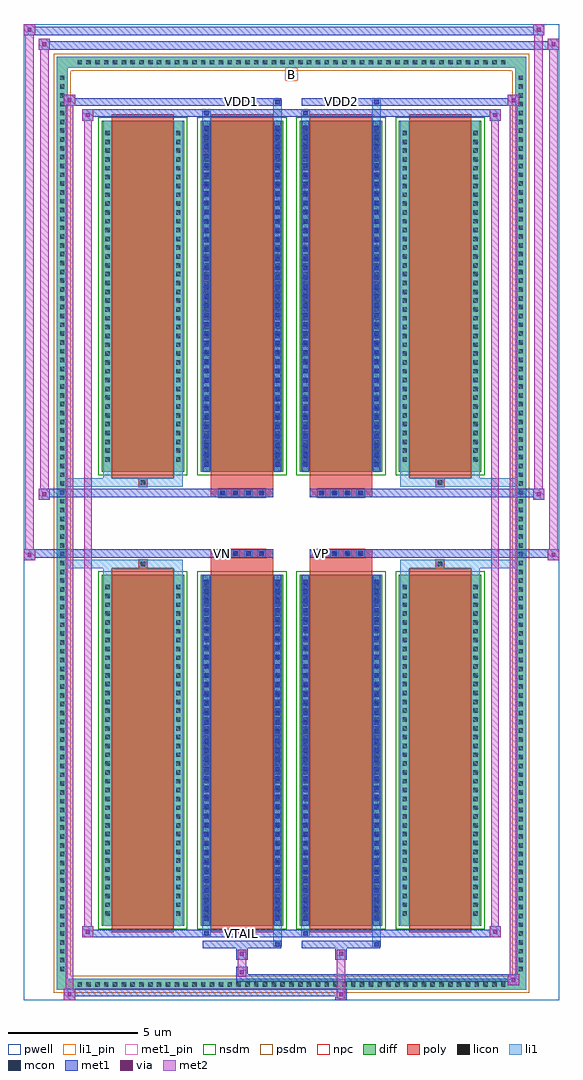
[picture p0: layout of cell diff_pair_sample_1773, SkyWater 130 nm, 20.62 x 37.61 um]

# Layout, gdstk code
import gdstk
lib = gdstk.Library(unit=1e-6, precision=5e-09)
def R(c, l, rs):  # rectangles x0, y0, x1, y1
    for r in rs: c.add(gdstk.rectangle(r[:2], r[2:], *l))
def A(c, l, x, y, w, h, nx, ny, dx, dy):  # array of equal rectangles
    R(c, l, [(x+i*dx, y+j*dy, x+i*dx+w, y+j*dy+h) for i in range(nx) for j in range(ny)])
def P(c, l, *ps):  # polygons
    for p in ps: c.add(gdstk.Polygon(p, *l))
pwell = (64, 44)
diff = (65, 20)
poly = (66, 20)
licon = (66, 44)
li1_pin = (67, 16)
li1 = (67, 20)
mcon = (67, 44)
met1_pin = (68, 16)
met1 = (68, 20)
via = (68, 44)
met2 = (69, 20)
nsdm = (93, 44)
psdm = (94, 20)
npc = (95, 20)

diff_pair_sample_1773 = lib.new_cell('diff_pair_sample_1773')
R(diff_pair_sample_1773, pwell, [(-10.31,-18.37,10.31,19.24), (-7.63,-16.56,-0.01,-0.8), (0.01,-16.56,7.63,-0.8), (-7.63,0.8,-0.01,16.56), (0.01,0.8,7.63,16.56)])
A(diff_pair_sample_1773, diff, -8.365, -17.97, 0.41, 0.41, 49, 2, 0.34, 35.53)
A(diff_pair_sample_1773, diff, -9.04, -17.375, 0.41, 0.41, 1, 102, 0, 0.34)
A(diff_pair_sample_1773, diff, 8.63, -17.375, 0.41, 0.41, 1, 102, 0, 0.34)
A(diff_pair_sample_1773, diff, -7.32, -15.515, 3.18, 13.53, 4, 2, 3.82, 17.5)
R(diff_pair_sample_1773, diff, [(-8.365,-17.97,8.365,-17.56), (-9.04,-17.375,-8.63,17.375), (8.63,-17.375,9.04,17.375), (-8.365,17.56,8.365,17.97)])
P(diff_pair_sample_1773, diff, [(9.04,17.97),(-9.04,17.97),(-9.04,-17.56),(-8.63,-17.56),(-8.63,17.56),(8.63,17.56),(8.63,-17.56),(-8.63,-17.56),(-9.04,-17.56),(-9.04,-17.97),(9.04,-17.97)])
A(diff_pair_sample_1773, poly, -6.93, -15.765, 2.4, 14.03, 4, 2, 3.82, 17.5)
A(diff_pair_sample_1773, poly, -2.825, -1.33, 0.33, 0.33, 4, 2, 0.5, 2.33)
A(diff_pair_sample_1773, poly, 0.995, -1.33, 0.33, 0.33, 4, 2, 0.5, 2.33)
R(diff_pair_sample_1773, poly, [(-5.895,-1.735,-5.565,-1.405), (-5.895,-1.735,-5.565,-1.405), (-3.11,-1.735,-0.71,-1.33), (0.71,-1.735,3.11,-1.33), (5.565,-1.735,5.895,-1.405), (5.565,-1.735,5.895,-1.405), (-3.11,-1.33,-0.71,-1), (0.71,-1.33,3.11,-1), (-3.11,1,-0.71,1.33), (0.71,1,3.11,1.33), (-3.11,1.33,-0.71,1.735), (0.71,1.33,3.11,1.735), (-5.895,1.405,-5.565,1.735), (-5.895,1.405,-5.565,1.735), (5.565,1.405,5.895,1.735), (5.565,1.405,5.895,1.735)])
A(diff_pair_sample_1773, licon, -8.245, -17.85, 0.17, 0.17, 49, 2, 0.34, 35.53)
A(diff_pair_sample_1773, licon, -8.92, -17.255, 0.17, 0.17, 1, 102, 0, 0.34)
A(diff_pair_sample_1773, licon, 8.75, -17.255, 0.17, 0.17, 1, 102, 0, 0.34)
A(diff_pair_sample_1773, licon, -7.18, -15.125, 0.17, 0.17, 1, 38, 0, 0.34)
A(diff_pair_sample_1773, licon, -4.45, -15.125, 0.17, 0.17, 1, 38, 0, 0.34)
A(diff_pair_sample_1773, licon, -3.36, -15.125, 0.17, 0.17, 1, 38, 0, 0.34)
A(diff_pair_sample_1773, licon, -0.63, -15.125, 0.17, 0.17, 1, 38, 0, 0.34)
A(diff_pair_sample_1773, licon, 0.46, -15.125, 0.17, 0.17, 1, 38, 0, 0.34)
A(diff_pair_sample_1773, licon, 3.19, -15.125, 0.17, 0.17, 1, 38, 0, 0.34)
A(diff_pair_sample_1773, licon, 4.28, -15.125, 0.17, 0.17, 1, 38, 0, 0.34)
A(diff_pair_sample_1773, licon, 7.01, -15.125, 0.17, 0.17, 1, 38, 0, 0.34)
A(diff_pair_sample_1773, licon, -2.745, -1.25, 0.17, 0.17, 4, 2, 0.5, 2.33)
A(diff_pair_sample_1773, licon, 1.075, -1.25, 0.17, 0.17, 4, 2, 0.5, 2.33)
A(diff_pair_sample_1773, licon, -7.18, 2.375, 0.17, 0.17, 1, 38, 0, 0.34)
A(diff_pair_sample_1773, licon, -4.45, 2.375, 0.17, 0.17, 1, 38, 0, 0.34)
A(diff_pair_sample_1773, licon, -3.36, 2.375, 0.17, 0.17, 1, 38, 0, 0.34)
A(diff_pair_sample_1773, licon, -0.63, 2.375, 0.17, 0.17, 1, 38, 0, 0.34)
A(diff_pair_sample_1773, licon, 0.46, 2.375, 0.17, 0.17, 1, 38, 0, 0.34)
A(diff_pair_sample_1773, licon, 3.19, 2.375, 0.17, 0.17, 1, 38, 0, 0.34)
A(diff_pair_sample_1773, licon, 4.28, 2.375, 0.17, 0.17, 1, 38, 0, 0.34)
A(diff_pair_sample_1773, licon, 7.01, 2.375, 0.17, 0.17, 1, 38, 0, 0.34)
R(diff_pair_sample_1773, licon, [(-5.815,-1.655,-5.645,-1.485), (5.645,-1.655,5.815,-1.485), (-5.815,1.485,-5.645,1.655), (5.645,1.485,5.815,1.655)])
R(diff_pair_sample_1773, li1_pin, [(-0.25,17.06,0.25,17.56)])
A(diff_pair_sample_1773, li1, -8.325, -17.93, 0.33, 0.33, 49, 2, 0.34, 35.53)
A(diff_pair_sample_1773, li1, -9, -17.335, 0.33, 0.33, 1, 102, 0, 0.34)
A(diff_pair_sample_1773, li1, 8.67, -17.335, 0.33, 0.33, 1, 102, 0, 0.34)
A(diff_pair_sample_1773, li1, -3.36, -15.315, 0.17, 0.17, 1, 37, 0, 0.36)
A(diff_pair_sample_1773, li1, -0.63, -15.315, 0.17, 0.17, 1, 37, 0, 0.36)
A(diff_pair_sample_1773, li1, 0.46, -15.315, 0.17, 0.17, 1, 37, 0, 0.36)
A(diff_pair_sample_1773, li1, 3.19, -15.315, 0.17, 0.17, 1, 37, 0, 0.36)
A(diff_pair_sample_1773, li1, -7.26, -15.205, 0.33, 0.33, 1, 38, 0, 0.34)
A(diff_pair_sample_1773, li1, -4.53, -15.205, 0.33, 0.33, 1, 38, 0, 0.34)
A(diff_pair_sample_1773, li1, -3.44, -15.205, 0.33, 0.33, 1, 38, 0, 0.34)
A(diff_pair_sample_1773, li1, -0.71, -15.205, 0.33, 0.33, 1, 38, 0, 0.34)
A(diff_pair_sample_1773, li1, 0.38, -15.205, 0.33, 0.33, 1, 38, 0, 0.34)
A(diff_pair_sample_1773, li1, 3.11, -15.205, 0.33, 0.33, 1, 38, 0, 0.34)
A(diff_pair_sample_1773, li1, 4.2, -15.205, 0.33, 0.33, 1, 38, 0, 0.34)
A(diff_pair_sample_1773, li1, 6.93, -15.205, 0.33, 0.33, 1, 38, 0, 0.34)
A(diff_pair_sample_1773, li1, -2.825, -1.33, 0.33, 0.33, 4, 2, 0.5, 2.33)
A(diff_pair_sample_1773, li1, 0.995, -1.33, 0.33, 0.33, 4, 2, 0.5, 2.33)
A(diff_pair_sample_1773, li1, -3.36, 2.185, 0.17, 0.17, 1, 37, 0, 0.36)
A(diff_pair_sample_1773, li1, -0.63, 2.185, 0.17, 0.17, 1, 37, 0, 0.36)
A(diff_pair_sample_1773, li1, 0.46, 2.185, 0.17, 0.17, 1, 37, 0, 0.36)
A(diff_pair_sample_1773, li1, 3.19, 2.185, 0.17, 0.17, 1, 37, 0, 0.36)
A(diff_pair_sample_1773, li1, -7.26, 2.295, 0.33, 0.33, 1, 38, 0, 0.34)
A(diff_pair_sample_1773, li1, -4.53, 2.295, 0.33, 0.33, 1, 38, 0, 0.34)
A(diff_pair_sample_1773, li1, -3.44, 2.295, 0.33, 0.33, 1, 38, 0, 0.34)
A(diff_pair_sample_1773, li1, -0.71, 2.295, 0.33, 0.33, 1, 38, 0, 0.34)
A(diff_pair_sample_1773, li1, 0.38, 2.295, 0.33, 0.33, 1, 38, 0, 0.34)
A(diff_pair_sample_1773, li1, 3.11, 2.295, 0.33, 0.33, 1, 38, 0, 0.34)
A(diff_pair_sample_1773, li1, 4.2, 2.295, 0.33, 0.33, 1, 38, 0, 0.34)
A(diff_pair_sample_1773, li1, 6.93, 2.295, 0.33, 0.33, 1, 38, 0, 0.34)
R(diff_pair_sample_1773, li1, [(-9.04,-17.97,-8.63,-17.56), (-9.04,-17.97,-8.63,-17.56), (-8.63,-17.97,8.63,-17.56), (8.63,-17.97,9.04,-17.56), (8.63,-17.97,9.04,-17.56), (-9.04,-17.56,-8.63,17.56), (8.63,-17.56,9.04,17.56), (-0.71,-16.32,-0.38,-15.515), (-0.63,-16.32,-0.46,-16.15), (3.11,-16.32,3.44,-15.515), (3.19,-16.32,3.36,-16.15), (-3.44,-15.89,-3.11,-15.515), (-3.36,-15.89,-3.19,-15.72), (0.38,-15.89,0.71,-15.515), (0.46,-15.89,0.63,-15.72), (-7.26,-15.515,-6.93,-1.985), (-4.53,-15.515,-4.2,-1.985), (-3.44,-15.515,-3.11,-1.985), (-0.71,-15.515,-0.38,-1.985), (0.38,-15.515,0.71,-1.985), (3.11,-15.515,3.44,-1.985), (4.2,-15.515,4.53,-1.985), (6.93,-15.515,7.26,-1.985), (-3.36,-15.315,-3.19,-2.185), (-0.63,-15.315,-0.46,-2.185), (0.46,-15.315,0.63,-2.185), (3.19,-15.315,3.36,-2.185), (-7.26,-1.985,-6.93,-1.405), (-4.53,-1.985,-4.2,-1.405), (4.2,-1.985,4.53,-1.405), (6.93,-1.985,7.26,-1.405), (-9.04,-1.735,-5.895,-1.405), (-7.26,-1.735,-5.895,-1.405), (-5.895,-1.735,-5.565,-1.405), (-5.565,-1.735,-4.2,-1.405), (4.2,-1.735,5.565,-1.405), (5.565,-1.735,5.895,-1.405), (5.565,-1.735,9.04,-1.405), (5.895,-1.735,7.26,-1.405), (-9.04,1.405,-5.895,1.735), (-7.26,1.405,-5.895,1.735), (-7.26,1.405,-6.93,1.985), (-5.895,1.405,-5.565,1.735), (-5.565,1.405,-4.2,1.735), (-4.53,1.405,-4.2,1.985), (4.2,1.405,5.565,1.735), (4.2,1.405,4.53,1.985), (5.565,1.405,5.895,1.735), (5.565,1.405,9.04,1.735), (5.895,1.405,7.26,1.735), (6.93,1.405,7.26,1.985), (-7.26,1.985,-6.93,15.515), (-4.53,1.985,-4.2,15.515), (-3.44,1.985,-3.11,15.515), (-0.71,1.985,-0.38,15.515), (0.38,1.985,0.71,15.515), (3.11,1.985,3.44,15.515), (4.2,1.985,4.53,15.515), (6.93,1.985,7.26,15.515), (-3.36,2.185,-3.19,15.315), (-0.63,2.185,-0.46,15.315), (0.46,2.185,0.63,15.315), (3.19,2.185,3.36,15.315), (-3.44,15.515,-3.11,15.89), (-0.71,15.515,-0.38,16.32), (0.38,15.515,0.71,15.89), (3.11,15.515,3.44,16.32), (-3.36,15.72,-3.19,15.89), (0.46,15.72,0.63,15.89), (-0.63,16.15,-0.46,16.32), (3.19,16.15,3.36,16.32), (-9.04,17.56,-8.63,17.97), (-9.04,17.56,-8.63,17.97), (-8.63,17.56,8.63,17.97), (8.63,17.56,9.04,17.97), (8.63,17.56,9.04,17.97)])
A(diff_pair_sample_1773, mcon, -3.36, -15.315, 0.17, 0.17, 1, 37, 0, 0.36)
A(diff_pair_sample_1773, mcon, -0.63, -15.315, 0.17, 0.17, 1, 37, 0, 0.36)
A(diff_pair_sample_1773, mcon, 0.46, -15.315, 0.17, 0.17, 1, 37, 0, 0.36)
A(diff_pair_sample_1773, mcon, 3.19, -15.315, 0.17, 0.17, 1, 37, 0, 0.36)
A(diff_pair_sample_1773, mcon, -2.745, -1.25, 0.17, 0.17, 4, 2, 0.5, 2.33)
A(diff_pair_sample_1773, mcon, 1.075, -1.25, 0.17, 0.17, 4, 2, 0.5, 2.33)
A(diff_pair_sample_1773, mcon, -3.36, 2.185, 0.17, 0.17, 1, 37, 0, 0.36)
A(diff_pair_sample_1773, mcon, -0.63, 2.185, 0.17, 0.17, 1, 37, 0, 0.36)
A(diff_pair_sample_1773, mcon, 0.46, 2.185, 0.17, 0.17, 1, 37, 0, 0.36)
A(diff_pair_sample_1773, mcon, 3.19, 2.185, 0.17, 0.17, 1, 37, 0, 0.36)
R(diff_pair_sample_1773, mcon, [(-0.63,-16.32,-0.46,-16.15), (3.19,-16.32,3.36,-16.15), (-3.36,-15.89,-3.19,-15.72), (0.46,-15.89,0.63,-15.72), (-3.36,15.72,-3.19,15.89), (0.46,15.72,0.63,15.89), (-0.63,16.15,-0.46,16.32), (3.19,16.15,3.36,16.32)])
R(diff_pair_sample_1773, met1_pin, [(-2.045,-15.93,-1.775,-15.66), (-2.795,-1.29,-2.525,-1.02), (1.025,-1.29,1.295,-1.02), (-2.045,16.11,-1.775,16.38), (1.775,16.11,2.045,16.38)])
A(diff_pair_sample_1773, met1, -3.42, -15.375, 0.29, 0.29, 1, 37, 0, 0.36)
A(diff_pair_sample_1773, met1, -0.69, -15.375, 0.29, 0.29, 1, 37, 0, 0.36)
A(diff_pair_sample_1773, met1, 0.4, -15.375, 0.29, 0.29, 1, 37, 0, 0.36)
A(diff_pair_sample_1773, met1, 3.13, -15.375, 0.29, 0.29, 1, 37, 0, 0.36)
A(diff_pair_sample_1773, met1, -2.805, -1.31, 0.29, 0.29, 4, 2, 0.5, 2.33)
A(diff_pair_sample_1773, met1, 1.015, -1.31, 0.29, 0.29, 4, 2, 0.5, 2.33)
A(diff_pair_sample_1773, met1, -3.42, 2.125, 0.29, 0.29, 1, 37, 0, 0.36)
A(diff_pair_sample_1773, met1, -0.69, 2.125, 0.29, 0.29, 1, 37, 0, 0.36)
A(diff_pair_sample_1773, met1, 0.4, 2.125, 0.29, 0.29, 1, 37, 0, 0.36)
A(diff_pair_sample_1773, met1, 3.13, 2.125, 0.29, 0.29, 1, 37, 0, 0.36)
R(diff_pair_sample_1773, met1, [(-8.77,-18.37,-8.34,-17.94), (1.695,-18.37,2.125,-17.94), (-8.77,-18.23,2.125,-17.94), (8.34,-17.8,8.77,-17.37), (-2.125,-17.66,8.77,-17.37), (-2.125,-17.52,-1.695,-17.09), (-2.125,-16.81,-1.695,-16.38), (1.695,-16.81,2.125,-16.38), (-3.42,-16.38,-0.4,-16.09), (-0.69,-16.38,-0.4,-16.09), (0.4,-16.38,3.42,-16.09), (3.13,-16.38,3.42,-16.09), (-8.06,-15.95,-7.63,-15.52), (-8.06,-15.95,-3.42,-15.66), (-3.42,-15.95,-3.13,-15.66), (-3.42,-15.95,-0.4,-15.66), (-0.4,-15.95,0.4,-15.66), (0.4,-15.95,0.69,-15.66), (0.4,-15.95,3.42,-15.66), (3.42,-15.95,8.06,-15.66), (7.63,-15.95,8.06,-15.52), (-3.42,-15.515,-3.13,-1.985), (-0.69,-15.515,-0.4,-1.985), (0.4,-15.515,0.69,-1.985), (3.13,-15.515,3.42,-1.985), (-10.31,-1.43,-9.88,-1), (9.88,-1.43,10.31,-1), (-10.31,-1.33,-0.71,-1), (-3.11,-1.33,-0.71,-1), (0.71,-1.33,3.11,-1), (0.71,-1.33,10.31,-1), (-9.74,0.9,-9.31,1.33), (9.31,0.9,9.74,1.33), (-9.74,1,-3.11,1.33), (-3.11,1,-0.71,1.33), (0.71,1,3.11,1.33), (3.11,1,9.74,1.33), (-3.42,1.985,-3.13,15.515), (-0.69,1.985,-0.4,15.515), (0.4,1.985,0.69,15.515), (3.13,1.985,3.42,15.515), (-8.06,15.52,-7.63,15.95), (7.63,15.52,8.06,15.95), (-8.06,15.66,-3.42,15.95), (-3.42,15.66,-3.13,15.95), (-3.42,15.66,-0.4,15.95), (-0.4,15.66,0.4,15.95), (0.4,15.66,0.69,15.95), (0.4,15.66,3.42,15.95), (3.42,15.66,8.06,15.95), (-8.77,16.09,-8.34,16.52), (-8.77,16.09,-3.42,16.38), (-3.42,16.09,-0.4,16.38), (-0.69,16.09,-0.4,16.38), (0.4,16.09,3.42,16.38), (3.13,16.09,3.42,16.38), (3.42,16.09,8.77,16.38), (8.34,16.09,8.77,16.52), (-9.74,18.24,-9.31,18.67), (-9.74,18.24,-7.63,18.57), (-7.63,18.24,7.63,18.57), (7.63,18.24,10.31,18.57), (9.88,18.24,10.31,18.67), (-10.31,18.81,-9.88,19.24), (-10.31,18.81,-7.63,19.14), (-7.63,18.81,7.63,19.14), (7.63,18.81,9.74,19.14), (9.31,18.81,9.74,19.24)])
R(diff_pair_sample_1773, via, [(-8.63,-18.23,-8.48,-18.08), (1.835,-18.23,1.985,-18.08), (8.48,-17.66,8.63,-17.51), (-1.985,-17.38,-1.835,-17.23), (-1.985,-16.67,-1.835,-16.52), (1.835,-16.67,1.985,-16.52), (-7.92,-15.81,-7.77,-15.66), (7.77,-15.81,7.92,-15.66), (-10.17,-1.29,-10.02,-1.14), (10.02,-1.29,10.17,-1.14), (-9.6,1.04,-9.45,1.19), (9.45,1.04,9.6,1.19), (-7.92,15.66,-7.77,15.81), (7.77,15.66,7.92,15.81), (-8.63,16.23,-8.48,16.38), (8.48,16.23,8.63,16.38), (-9.6,18.38,-9.45,18.53), (10.02,18.38,10.17,18.53), (-10.17,18.95,-10.02,19.1), (9.45,18.95,9.6,19.1)])
R(diff_pair_sample_1773, met2, [(-8.77,-18.37,-8.34,-17.94), (-8.7,-18.37,-8.41,16.52), (-8.41,-18.37,-8.34,-17.94), (-8.72,-18.32,-8.39,-17.99), (1.745,-18.32,2.075,-17.99), (1.745,-17.99,2.075,-16.76), (8.34,-17.8,8.77,-17.37), (8.41,-17.8,8.7,16.52), (8.7,-17.8,8.77,-17.37), (8.39,-17.75,8.72,-17.42), (-2.075,-17.47,-1.745,-17.14), (-2.075,-17.14,-1.745,-16.76), (-2.075,-16.76,-1.745,-16.43), (1.745,-16.76,2.075,-16.43), (-8.06,-15.95,-7.63,-15.52), (-7.99,-15.95,-7.7,15.95), (-7.7,-15.95,-7.63,-15.52), (7.63,-15.95,8.06,-15.52), (7.7,-15.95,7.99,15.95), (7.99,-15.95,8.06,-15.52), (-8.01,-15.9,-7.68,-15.57), (7.68,-15.9,8.01,-15.57), (-10.31,-1.43,-9.88,-1), (-10.26,-1.43,-9.93,19.24), (-9.93,-1.43,-9.88,-1), (9.88,-1.43,10.31,-1), (9.93,-1.43,10.26,18.67), (10.26,-1.43,10.31,-1), (-10.26,-1.38,-9.93,-1.05), (9.93,-1.38,10.26,-1.05), (-9.74,0.9,-9.31,1.33), (-9.69,0.9,-9.36,18.67), (-9.36,0.9,-9.31,1.33), (9.31,0.9,9.74,1.33), (9.36,0.9,9.69,19.24), (9.69,0.9,9.74,1.33), (-9.69,0.95,-9.36,1.28), (9.36,0.95,9.69,1.28), (-8.06,15.52,-7.63,15.95), (-7.7,15.52,-7.63,15.95), (7.63,15.52,8.06,15.95), (7.99,15.52,8.06,15.95), (-8.01,15.57,-7.68,15.9), (7.68,15.57,8.01,15.9), (-8.77,16.09,-8.34,16.52), (-8.41,16.09,-8.34,16.52), (8.34,16.09,8.77,16.52), (8.7,16.09,8.77,16.52), (-8.72,16.14,-8.39,16.47), (8.39,16.14,8.72,16.47), (-9.74,18.24,-9.31,18.67), (-9.36,18.24,-9.31,18.67), (9.88,18.24,10.31,18.67), (10.26,18.24,10.31,18.67), (-9.69,18.29,-9.36,18.62), (9.93,18.29,10.26,18.62), (-10.31,18.81,-9.88,19.24), (-9.93,18.81,-9.88,19.24), (9.31,18.81,9.74,19.24), (9.69,18.81,9.74,19.24), (-10.26,18.86,-9.93,19.19), (9.36,18.86,9.69,19.19)])
A(diff_pair_sample_1773, nsdm, -7.45, -15.645, 3.44, 13.79, 4, 2, 3.82, 17.5)
P(diff_pair_sample_1773, psdm, [(9.17,18.1),(-9.17,18.1),(-9.17,-17.43),(-8.5,-17.43),(-8.5,17.43),(8.5,17.43),(8.5,-17.43),(-8.5,-17.43),(-9.17,-17.43),(-9.17,-18.1),(9.17,-18.1)])
A(diff_pair_sample_1773, npc, -2.845, -1.35, 0.37, 0.37, 4, 2, 0.5, 2.33)
A(diff_pair_sample_1773, npc, 0.975, -1.35, 0.37, 0.37, 4, 2, 0.5, 2.33)
R(diff_pair_sample_1773, npc, [(-5.915,-1.755,-5.545,-1.385), (5.545,-1.755,5.915,-1.385), (-2.845,-1.35,-1.975,-0.98), (-2.845,-1.35,-1.975,-0.98), (-2.345,-1.35,-1.475,-0.98), (-2.345,-1.35,-1.475,-0.98), (-1.845,-1.35,-0.975,-0.98), (-1.845,-1.35,-0.975,-0.98), (0.975,-1.35,1.845,-0.98), (0.975,-1.35,1.845,-0.98), (1.475,-1.35,2.345,-0.98), (1.475,-1.35,2.345,-0.98), (1.975,-1.35,2.845,-0.98), (1.975,-1.35,2.845,-0.98), (-2.845,0.98,-1.975,1.35), (-2.845,0.98,-1.975,1.35), (-2.345,0.98,-1.475,1.35), (-2.345,0.98,-1.475,1.35), (-1.845,0.98,-0.975,1.35), (-1.845,0.98,-0.975,1.35), (0.975,0.98,1.845,1.35), (0.975,0.98,1.845,1.35), (1.475,0.98,2.345,1.35), (1.475,0.98,2.345,1.35), (1.975,0.98,2.845,1.35), (1.975,0.98,2.845,1.35), (-5.915,1.385,-5.545,1.755), (5.545,1.385,5.915,1.755)])
diff_pair_sample_1773.add(gdstk.Label('VTAIL', (-1.91,-15.795), layer=68, texttype=5))
diff_pair_sample_1773.add(gdstk.Label('VN', (-2.66,-1.155), layer=68, texttype=5))
diff_pair_sample_1773.add(gdstk.Label('VP', (1.16,-1.155), layer=68, texttype=5))
diff_pair_sample_1773.add(gdstk.Label('B', (0,17.31), layer=67, texttype=5))
diff_pair_sample_1773.add(gdstk.Label('VDD2', (1.91,16.245), layer=68, texttype=5))
diff_pair_sample_1773.add(gdstk.Label('VDD1', (-1.91,16.245), layer=68, texttype=5))

lib.write_gds('diff_pair_sample_1773.gds')
